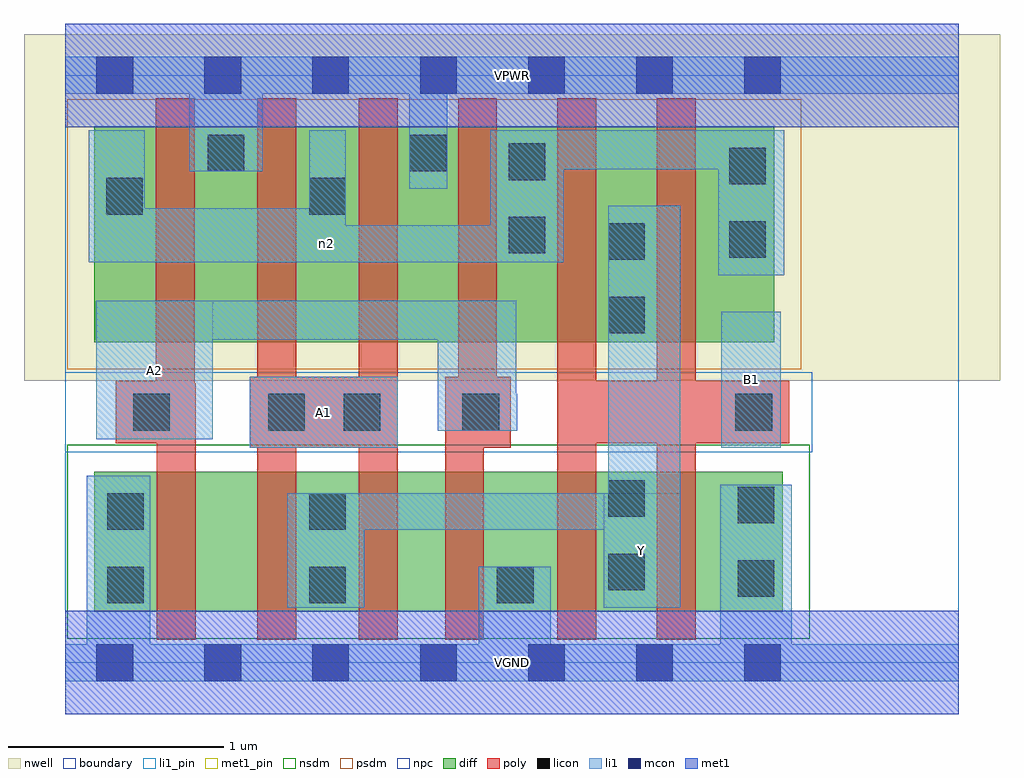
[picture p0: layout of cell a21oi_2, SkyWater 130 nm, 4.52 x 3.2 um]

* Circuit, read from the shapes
.subckt a21oi_2 A1 A2 B1 VGND VPWR Y n2
XM1 n1 A2 VGND VSUBS sky130_fd_pr__nfet_01v8 w=0.65 l=0.18
XM2 Y A1 n1 VSUBS sky130_fd_pr__nfet_01v8 w=0.65 l=0.18
XM3 n3 A1 Y VSUBS sky130_fd_pr__nfet_01v8 w=0.65 l=0.18
XM4 VGND A2 n3 VSUBS sky130_fd_pr__nfet_01v8 w=0.65 l=0.18
XM5 Y B1 VGND VSUBS sky130_fd_pr__nfet_01v8 w=0.65 l=0.18 m=2
XM6 VPWR A2 n2 n4 sky130_fd_pr__pfet_01v8 w=1 l=0.18 m=2
XM7 n2 A1 VPWR n4 sky130_fd_pr__pfet_01v8 w=1 l=0.18 m=2
XM8 Y B1 n2 n4 sky130_fd_pr__pfet_01v8 w=1 l=0.18 m=2
.ends

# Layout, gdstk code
import gdstk
lib = gdstk.Library(unit=1e-6, precision=1e-09)
def R(c, l, rs):  # rectangles x0, y0, x1, y1
    for r in rs: c.add(gdstk.rectangle(r[:2], r[2:], *l))
def A(c, l, x, y, w, h, nx, ny, dx, dy):  # array of equal rectangles
    R(c, l, [(x+i*dx, y+j*dy, x+i*dx+w, y+j*dy+h) for i in range(nx) for j in range(ny)])
nwell = (64, 20)
diff = (65, 20)
poly = (66, 20)
licon = (66, 44)
li1_pin = (67, 16)
li1 = (67, 20)
mcon = (67, 44)
met1_pin = (68, 16)
met1 = (68, 20)
nsdm = (93, 44)
psdm = (94, 20)
npc = (95, 20)
boundary = (235, 4)

a21oi_2 = lib.new_cell('a21oi_2')
R(a21oi_2, nwell, [(-0.19,1.305,4.33,2.91), (0,1.305,4.14,2.91)])
R(a21oi_2, diff, [(0.135,0.235,3.325,0.885), (0.135,1.485,3.285,2.485)])
R(a21oi_2, poly, [(0.425,0.105,0.605,1.295), (0.89,0.105,1.07,2.615), (1.36,0.105,1.54,2.615), (1.76,0.105,1.94,1.325), (2.28,0.105,2.46,2.615), (2.74,0.105,2.92,2.615), (0.855,0.995,1.54,1.325), (1.76,0.995,2.065,1.325), (1.82,0.995,2,2.615), (0.235,1.015,0.6,1.305), (0.42,1.015,0.6,2.615), (2.28,1.015,3.355,1.305)])
R(a21oi_2, licon, [(0.195,0.275,0.365,0.445), (1.13,0.275,1.3,0.445), (2,0.275,2.17,0.445), (3.115,0.305,3.285,0.475), (2.515,0.335,2.685,0.505), (0.195,0.615,0.365,0.785), (1.13,0.615,1.3,0.785), (3.115,0.645,3.285,0.815), (2.515,0.675,2.685,0.845), (0.315,1.075,0.485,1.245), (0.94,1.075,1.11,1.245), (1.29,1.075,1.46,1.245), (1.84,1.075,2.01,1.245), (3.105,1.075,3.275,1.245), (2.515,1.525,2.685,1.695), (2.515,1.865,2.685,2.035), (3.075,1.875,3.245,2.045), (2.055,1.895,2.225,2.065), (0.19,2.075,0.36,2.245), (1.13,2.075,1.3,2.245), (3.075,2.215,3.245,2.385), (2.055,2.235,2.225,2.405), (0.66,2.275,0.83,2.445), (1.595,2.275,1.765,2.445)])
R(a21oi_2, li1_pin, [(2.495,0.255,2.85,0.785), (0.855,0.995,1.54,1.325), (3.04,0.995,3.315,1.625), (0.145,1.035,0.685,1.675)])
R(a21oi_2, li1, [(0,-0.085,4.14,0.085), (0.1,-0.085,0.395,0.865), (1.915,-0.085,2.25,0.445), (3.035,-0.085,3.365,0.825), (1.03,0.255,1.385,0.785), (2.495,0.255,2.85,0.785), (2.515,0.255,2.85,2.115), (1.03,0.615,2.85,0.785), (0.855,0.995,1.54,1.325), (3.04,0.995,3.315,1.625), (0.145,1.035,0.685,1.675), (1.725,1.075,2.09,1.675), (1.725,1.075,2.095,1.245), (0.145,1.495,2.09,1.675), (3.025,1.795,3.33,2.465), (0.11,1.855,2.31,2.025), (0.11,1.855,0.37,2.465), (0.11,1.855,1.3,2.105), (1.13,1.855,1.3,2.465), (1.97,1.855,2.31,2.465), (1.595,2.195,1.77,2.805), (0.575,2.275,0.915,2.805), (1.97,2.285,3.33,2.465), (0,2.635,4.14,2.805)])
A(a21oi_2, mcon, 0.145, -0.085, 0.17, 0.17, 7, 2, 0.5, 2.72)
R(a21oi_2, met1_pin, [(0,-0.24,4.14,0.24), (0,2.48,4.14,2.96)])
R(a21oi_2, met1, [(0,-0.24,4.14,0.24), (0,2.48,4.14,2.96)])
R(a21oi_2, nsdm, [(0.01,0.11,3.45,1.01)])
R(a21oi_2, psdm, [(0.01,1.36,3.41,2.61)])
R(a21oi_2, npc, [(0,0.975,3.46,1.345)])
R(a21oi_2, boundary, [(0,0,4.14,2.72)])
a21oi_2.add(gdstk.Label('A1', (1.197,1.16), layer=67, texttype=5))
a21oi_2.add(gdstk.Label('A2', (0.415,1.355), layer=67, texttype=5))
a21oi_2.add(gdstk.Label('B1', (3.177,1.31), layer=67, texttype=5))
a21oi_2.add(gdstk.Label('Y', (2.672,0.52), layer=67, texttype=5))
a21oi_2.add(gdstk.Label('n2', (1.21,1.94), layer=67, texttype=5))
a21oi_2.add(gdstk.Label('VPWR', (2.07,2.72), layer=68, texttype=5))
a21oi_2.add(gdstk.Label('VGND', (2.07,0), layer=68, texttype=5))
a21oi_2.add(gdstk.Label('A1', (1.197,1.16), layer=67, texttype=16))
a21oi_2.add(gdstk.Label('A2', (0.415,1.355), layer=67, texttype=16))
a21oi_2.add(gdstk.Label('B1', (3.177,1.31), layer=67, texttype=16))
a21oi_2.add(gdstk.Label('Y', (2.672,0.52), layer=67, texttype=16))
a21oi_2.add(gdstk.Label('VPWR', (2.07,2.72), layer=68, texttype=16))
a21oi_2.add(gdstk.Label('VGND', (2.07,0), layer=68, texttype=16))

lib.write_gds('a21oi_2.gds')
